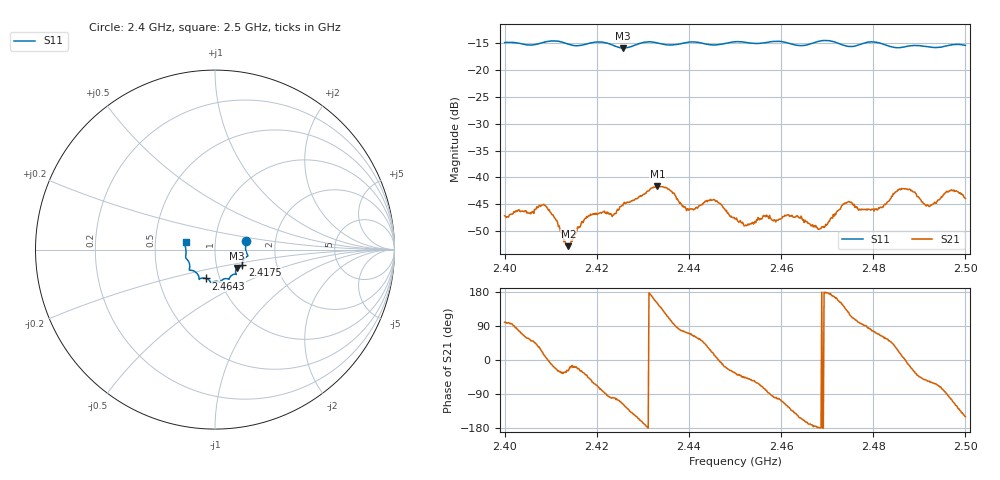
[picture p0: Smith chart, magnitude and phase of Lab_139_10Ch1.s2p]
# Hz S RI R 50
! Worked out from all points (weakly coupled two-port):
!   601 points, 2.4 GHz to 2.5 GHz, reference 50 ohm
!   highest |S21| = -41.65 dB at 2.4332 GHz (marker M1); lowest = -52.8 dB at 2.4138 GHz (marker M2)
!   lowest |S11| = -15.9 dB at 2.4257 GHz (marker M3), VSWR 1.38, Z = 62.5 - j13.1 ohm
!   |S11| at or under -10 dB: start of sweep to end of sweep
!   S12 and S22 are empty: the file has one direction only
!   S11 on the Smith chart (normalised r, x): 2.4 GHz: 1.41, +0.14; 2.4175 GHz: 1.33, -0.23; 2.4643 GHz: 0.86, -0.29; 2.5 GHz: 0.72, +0.06
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2.4e9  0.1729 0.0489  -0.000749 0.00435  0 0  0 0
2.408667e9  0.18 -0.0264  0.00542 0.00116  0 0  0 0
2.413833e9  0.1675 -0.0455  0.00202 -0.00109  0 0  0 0
2.416667e9  0.1528 -0.0741  0.00334 -0.00181  0 0  0 0
2.4175e9  0.1517 -0.0835  0.00327 -0.00258  0 0  0 0
2.425667e9  0.1231 -0.1022  -0.00241 -0.00493  0 0  0 0
2.433167e9  0.1138 -0.1374  -0.00712 0.00421  0 0  0 0
2.433333e9  0.1128 -0.1371  -0.00671 0.00448  0 0  0 0
2.4395e9  0.0797 -0.1616  0.0015 0.00469  0 0  0 0
2.445167e9  0.0544 -0.162  0.00583 0.00204  0 0  0 0
2.45e9  0.0288 -0.1808  0.00339 -0.00232  0 0  0 0
2.4525e9  0.0202 -0.179  0.00239 -0.00265  0 0  0 0
2.464333e9  -0.0498 -0.1609  -0.00393 -0.00192  0 0  0 0
2.466667e9  -0.0759 -0.1593  -0.00352 -0.000563  0 0  0 0
2.4695e9  -0.0884 -0.166  -0.00346 0.000167  0 0  0 0
2.474333e9  -0.1002 -0.1327  -0.00378 0.00451  0 0  0 0
2.479667e9  -0.1431 -0.1138  0.00113 0.00494  0 0  0 0
2.483333e9  -0.1406 -0.0899  0.00382 0.00466  0 0  0 0
2.486667e9  -0.1529 -0.0582  0.00783 0.000666  0 0  0 0
2.491833e9  -0.162 -0.027  0.00308 -0.00459  0 0  0 0
2.497e9  -0.1692 0.0272  -0.00182 -0.00744  0 0  0 0
2.5e9  -0.1639 0.0426  -0.00552 -0.00323  0 0  0 0
